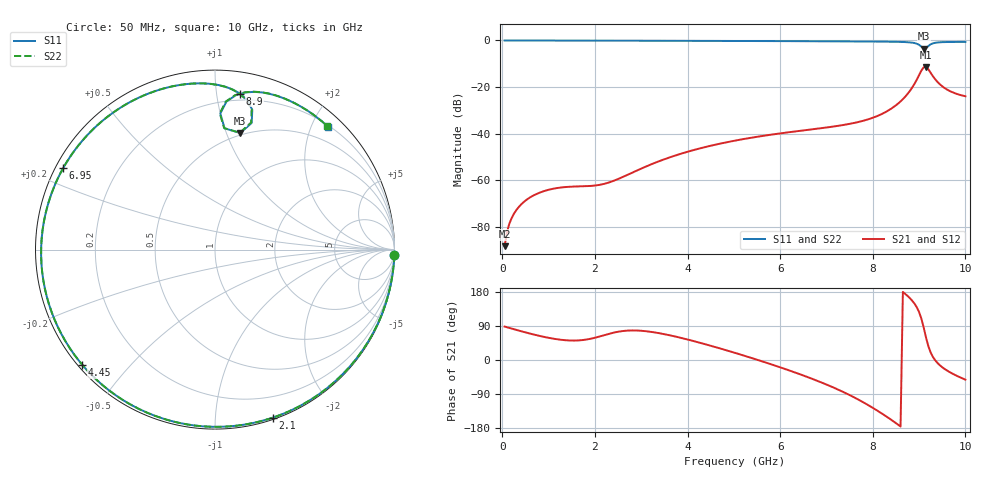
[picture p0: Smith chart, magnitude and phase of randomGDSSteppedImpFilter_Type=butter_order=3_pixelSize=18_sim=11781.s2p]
! freq	dB(S11)	phase(S11)	dB(S12)	phase(S12)
!  dB(S21)	phase(S21)	dB(S22)	phase(S22)
!S-par simulation data
#  GHz  S  DB  R 50
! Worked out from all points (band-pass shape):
!   200 points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, 50 MHz to 10 GHz, reference 50 ohm
!   highest |S21| = -11.35 dB at 9.15 GHz (marker M1); lowest = -88.3 dB at 50 MHz (marker M2)
!   |S21| within 3 dB of the highest: 9.014 GHz to 9.265 GHz (251.7 MHz wide, 2.75 % of centre)
!   lowest |S11| = -3.6 dB at 9.1 GHz (marker M3), VSWR 4.96, Z = 24.1 + j56 ohm
!   |S11| at or under -10 dB: nowhere
!   |S22| runs from -3.5 to 0.0 dB; largest |S21 - S12| = 0
!   S11 on the Smith chart (normalised r, x): 50 MHz: 0, -64; 2.1 GHz: 0.01, -1.40; 4.45 GHz: 0.01, -0.37; 6.95 GHz: 0.02, +0.25; 8.9 GHz: 0.15, +1.16; 10 GHz: 0.22, +2.26
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0.05  -0.00 -1.8  -88.32 88.2  -88.32 88.2  -0.00 -1.8
0.15  -0.01 -5.3  -78.81 84.7  -78.81 84.7  -0.01 -5.3
0.4  -0.02 -14.1  -70.54 76.1  -70.54 76.1  -0.02 -14.1
0.7  -0.03 -24.5  -66.27 66.6  -66.27 66.6  -0.03 -24.5
1.75  -0.07 -59.8  -62.61 52.8  -62.61 52.8  -0.07 -59.7
2.1  -0.09 -70.9  -61.99 62.0  -61.99 62.0  -0.09 -70.9
3.4  -0.13 -109.8  -51.73 70.5  -51.73 70.5  -0.13 -109.8
4.45  -0.18 -139.0  -45.44 39.3  -45.44 39.3  -0.18 -138.9
5.05  -0.21 -155.1  -42.91 17.9  -42.91 17.9  -0.21 -155.1
5.9  -0.27 -178.2  -40.17 -15.2  -40.17 -15.2  -0.27 -178.1
6.7  -0.33 159.2  -38.13 -50.0  -38.13 -50.0  -0.33 159.3
6.95  -0.35 151.8  -37.50 -62.2  -37.50 -62.2  -0.35 151.9
7.8  -0.44 125.1  -34.44 -112.0  -34.44 -112.0  -0.44 125.2
8.35  -0.53 105.6  -29.90 -153.7  -29.90 -153.7  -0.53 105.8
8.65  -0.65 93.4  -25.20 179.7  -25.20 179.7  -0.65 93.7
8.9  -1.11 80.9  -18.65 148.8  -18.65 148.8  -1.11 81.1
9  -1.87 75.1  -14.88 126.4  -14.88 126.4  -1.87 75.4
9.1  -3.55 77.8  -11.51 85.5  -11.51 85.5  -3.54 78.0
9.15  -3.38 85.5  -11.35 59.2  -11.35 59.2  -3.37 85.7
9.25  -1.65 85.6  -13.89 19.8  -13.89 19.8  -1.65 85.8
9.4  -0.86 76.1  -17.86 -8.2  -17.86 -8.2  -0.86 76.4
10  -0.63 47.5  -23.97 -51.9  -23.97 -51.9  -0.63 47.8
